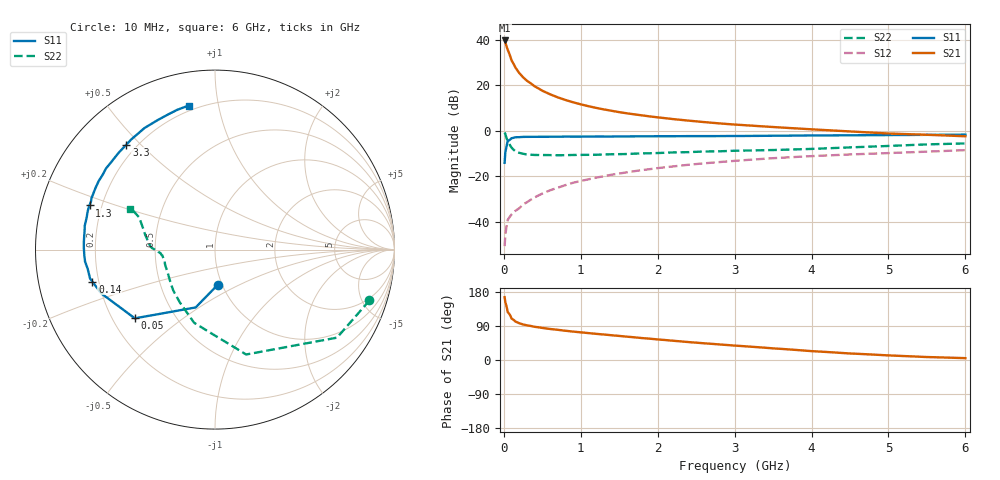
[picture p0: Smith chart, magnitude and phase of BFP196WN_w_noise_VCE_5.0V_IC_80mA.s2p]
! (c) 2017  Infineon Technologies AG, Munich
! Infineon Technologies  Discrete & RF Semiconductors
! BFP196WN
! VCE =  5.0 V,  IC =  80 mA
! Common Emitter S-Parameters:  Jan 2017
# GHz  S  MA  R  50
!  f  S11  S21  S12  S22
! GHz  MAG  ANG  MAG  ANG  MAG  ANG  MAG  ANG
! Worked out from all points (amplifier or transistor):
!   77 points, 10 MHz to 6 GHz, reference 50 ohm
!   highest |S21| = 39.6 dB at 10 MHz (marker M1)
!   |S21| within 3 dB of that: start of sweep to 38.89 MHz
!   unconditionally stable (mu >= 1): 515.3 MHz to 2.664 GHz
!   at 130 MHz: K = 0.66, MSG = 32.5 dB, |S12| = -35.9 dB
!   at 2.2 GHz: K = 1.02, MAG = 9.6 dB, |S12| = -15.7 dB
!   at 6 GHz: K = 0.92, MSG = 3.0 dB, |S12| = -8.6 dB
!   lowest NFmin = 1.58 dB at 450 MHz
!   S11 on the Smith chart (normalised r, x): 10 MHz: 0.95, -0.39; 50 MHz: 0.29, -0.34; 140 MHz: 0.17, -0.12; 1.3 GHz: 0.15, +0.17; 3.3 GHz: 0.16, +0.45; 6 GHz: 0.17, +0.82
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0.01  0.1964 -85.4  95.31 165.8  0.0029 81.3  0.9061 -18.2
0.02  0.3398 -108.5  85.32 152.1  0.0052 75.6  0.8384 -35.8
0.05  0.5883 -139.4  59.65 126.5  0.0109 51.6  0.6095 -73.5
0.1  0.679 -158.9  34.84 109.3  0.0144 52.2  0.4241 -105.9
0.14  0.7063 -165.4  26.33 103.6  0.0167 55.7  0.3634 -119.9
0.15  0.7145 -166.9  24.26 101.6  0.0173 56.4  0.3523 -124.1
0.2  0.7174 -171.5  18.41 97.1  0.0197 60.3  0.3254 -135.6
0.25  0.727 -174.7  14.83 93.8  0.0239 61.4  0.3101 -142.7
0.3  0.7288 -177.3  12.44 91.5  0.0267 64.1  0.2993 -148.8
0.4  0.7309 179.1  9.382 87.6  0.0341 67.9  0.292 -155.7
0.5  0.732 176.3  7.515 84.6  0.0414 69.3  0.2908 -160.7
0.6  0.7327 173.8  6.278 81.9  0.0488 70.0  0.2899 -164.3
0.7  0.7341 171.7  5.377 79.7  0.0557 71.2  0.2878 -166.7
0.9  0.7369 167.4  4.182 75.0  0.0715 71.1  0.2916 -170.0
1.1  0.7398 164.0  3.433 71.0  0.0851 70.3  0.2937 -172.8
1.3  0.7413 160.6  2.917 67.3  0.0995 69.7  0.2986 -174.1
2.1  0.7518 148.0  1.871 52.6  0.1567 64.0  0.3266 -179.2
3.1  0.7622 133.1  1.324 36.7  0.2227 55.4  0.3636 176.2
3.3  0.7656 130.2  1.259 33.8  0.2352 53.6  0.3689 174.8
4.1  0.7835 119.0  1.044 22.3  0.2799 46.5  0.4022 166.9
5.1  0.799 108.2  0.853 11.3  0.3257 38.8  0.4676 156.5
6  0.8158 100.3  0.751 4.9  0.3721 32.8  0.5225 154.3
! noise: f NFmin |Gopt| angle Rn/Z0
0.45  1.58  0.58  -175  0.05
0.9  1.71  0.59  -168  0.07
1.9  2.67  0.7  -146  0.21
2.4  3.48  0.71  -138  0.35
